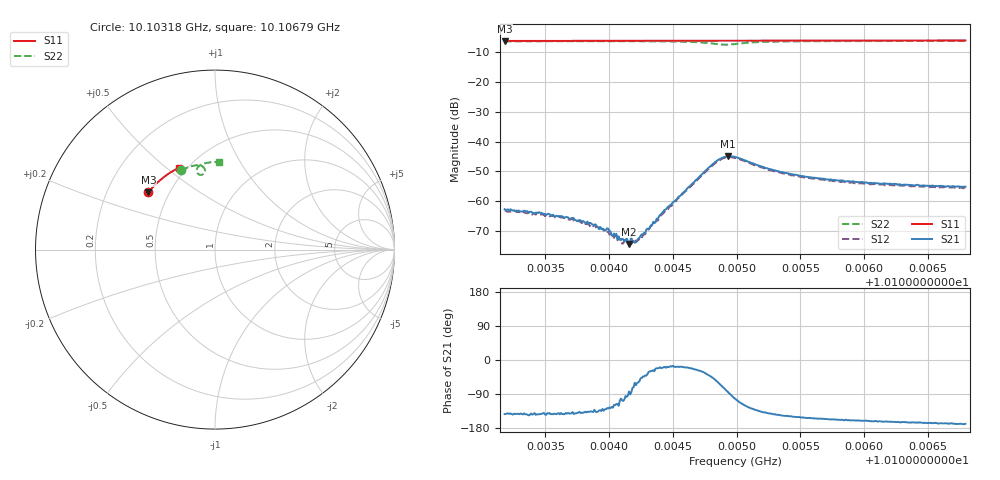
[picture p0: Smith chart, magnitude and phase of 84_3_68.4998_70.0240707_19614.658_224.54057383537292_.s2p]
#  HZ  S  RI  R  50.00
! Rohde & Schwarz Vector Network Analyzer
! Rohde-Schwarz,ZNB20-2Port,1311601062101988,3.16
! Created: UTC 3/20/2024, 4:52:17 PM
! freq[Hz]  re:S11  im:S11  re:S21  im:S21  re:S12  im:S12  re:S22  im:S22
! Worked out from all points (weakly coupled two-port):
!   401 points, 10.10318 GHz to 10.10679 GHz, reference 50 ohm
!   highest |S21| = -44.90 dB at 10.10493 GHz (marker M1); lowest = -74.4 dB at 10.10416 GHz (marker M2)
!   lowest |S11| = -6.2 dB at 10.10318 GHz (marker M3), VSWR 2.91, Z = 19.2 + j16.1 ohm
!   |S11| at or under -10 dB: nowhere
!   |S22| runs from -7.5 to -6.2 dB; largest |S21 - S12| = 0.00058
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1.0103179e10  -0.3712 0.3182  -0.000585 -0.000443  -0.0005 -0.000484  -0.1872 0.4436
1.010345e10  -0.3607 0.3312  -0.000524 -0.000395  -0.000446 -0.000397  -0.1705 0.4509
1.0103622e10  -0.3539 0.339  -0.000433 -0.000365  -0.000391 -0.000358  -0.1595 0.4552
1.0103785e10  -0.3473 0.3464  -0.00034 -0.000294  -0.000301 -0.000307  -0.1486 0.4591
1.0103875e10  -0.3437 0.3505  -0.000293 -0.000273  -0.000258 -0.000276  -0.1425 0.4612
1.0103929e10  -0.3414 0.3529  -0.00025 -0.000274  -0.000206 -0.000284  -0.1387 0.4624
1.0103993e10  -0.3386 0.3559  -0.000212 -0.000273  -0.000166 -0.000264  -0.1342 0.4636
1.0104029e10  -0.3371 0.3572  -0.000151 -0.000211  -0.000127 -0.000236  -0.1315 0.4645
1.0104101e10  -0.334 0.3605  -6.59e-05 -0.000226  -3.42e-05 -0.000191  -0.1263 0.4658
1.0104155e10  -0.3318 0.3627  2.36e-05 -0.00019  1.34e-05 -0.000203  -0.1221 0.4668
1.01042e10  -0.3297 0.3647  0.000101 -0.000175  9.5e-05 -0.000211  -0.1185 0.4676
1.0104218e10  -0.329 0.3655  0.000108 -0.000192  0.000133 -0.000166  -0.117 0.468
1.0104264e10  -0.3271 0.3674  0.000198 -0.000189  0.000197 -0.000174  -0.1132 0.4686
1.010439e10  -0.3215 0.3727  0.000515 -0.000197  0.000491 -0.000161  -0.1023 0.4699
1.0104788e10  -0.3033 0.3887  0.00283 -0.00248  0.0029 -0.00214  -0.0565 0.4452
1.010486e10  -0.3 0.3912  0.0024 -0.00441  0.00269 -0.00395  -0.0602 0.4258
1.0104932e10  -0.2968 0.394  0.000446 -0.00567  0.000937 -0.00537  -0.0807 0.4164
1.0104987e10  -0.2943 0.396  -0.00116 -0.00542  -0.000668 -0.00529  -0.0952 0.4233
1.0105249e10  -0.282 0.4062  -0.00271 -0.0022  -0.00241 -0.00235  -0.0893 0.4654
1.0105592e10  -0.2651 0.4185  -0.00223 -0.0011  -0.00205 -0.00125  -0.0599 0.4797
1.0106197e10  -0.2341 0.4381  -0.00188 -0.000573  -0.00173 -0.000708  -0.016 0.4875
1.0106794e10  -0.2022 0.4551  -0.00171 -0.000351  -0.00162 -0.000485  0.0242 0.4891
